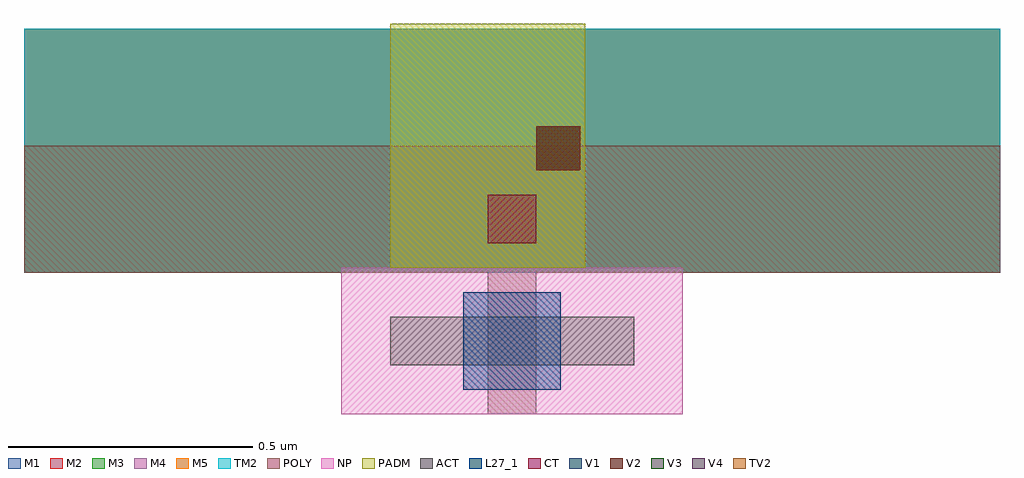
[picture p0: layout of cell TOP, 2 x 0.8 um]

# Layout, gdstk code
import gdstk
lib = gdstk.Library(unit=1e-6, precision=1e-09)
def R(c, l, rs):  # rectangles x0, y0, x1, y1
    for r in rs: c.add(gdstk.rectangle(r[:2], r[2:], *l))
ACT = (2, 1)
L27_1 = (27, 1)
POLY = (41, 1)
NP = (52, 1)
CT = (72, 1)
M1 = (81, 1)
M2 = (82, 1)
M3 = (83, 1)
M4 = (84, 1)
M5 = (85, 1)
V1 = (91, 1)
V2 = (92, 1)
V3 = (93, 1)
V4 = (94, 1)
TM2 = (103, 1)
TV2 = (113, 1)
PADM = (120, 1)

top = lib.new_cell('TOP')
R(top, ACT, [(0,0,0.5,0.1)])
R(top, L27_1, [(0.15,-0.05,0.35,0.15)])
R(top, POLY, [(0.2,-0.1,0.3,0.2), (-0.75,0.19,1.25,0.45)])
R(top, NP, [(-0.1,-0.1,0.6,0.2)])
R(top, CT, [(0.2,0.25,0.3,0.35)])
R(top, M1, [(-0.75,0.19,1.25,0.69)])
R(top, M2, [(-0.75,0.19,1.25,0.69)])
R(top, M3, [(-0.75,0.19,1.25,0.69)])
R(top, M4, [(-0.75,0.19,1.25,0.69)])
R(top, M5, [(-0.75,0.19,1.25,0.69)])
R(top, V1, [(0.3,0.4,0.39,0.49)])
R(top, V2, [(0.3,0.4,0.39,0.49)])
R(top, V3, [(0.3,0.4,0.39,0.49)])
R(top, V4, [(0.3,0.4,0.39,0.49)])
R(top, TM2, [(-0.75,0.19,1.25,0.69)])
R(top, TV2, [(0.3,0.4,0.39,0.49)])
R(top, PADM, [(0,0.2,0.4,0.7)])

lib.write_gds('TOP.gds')
